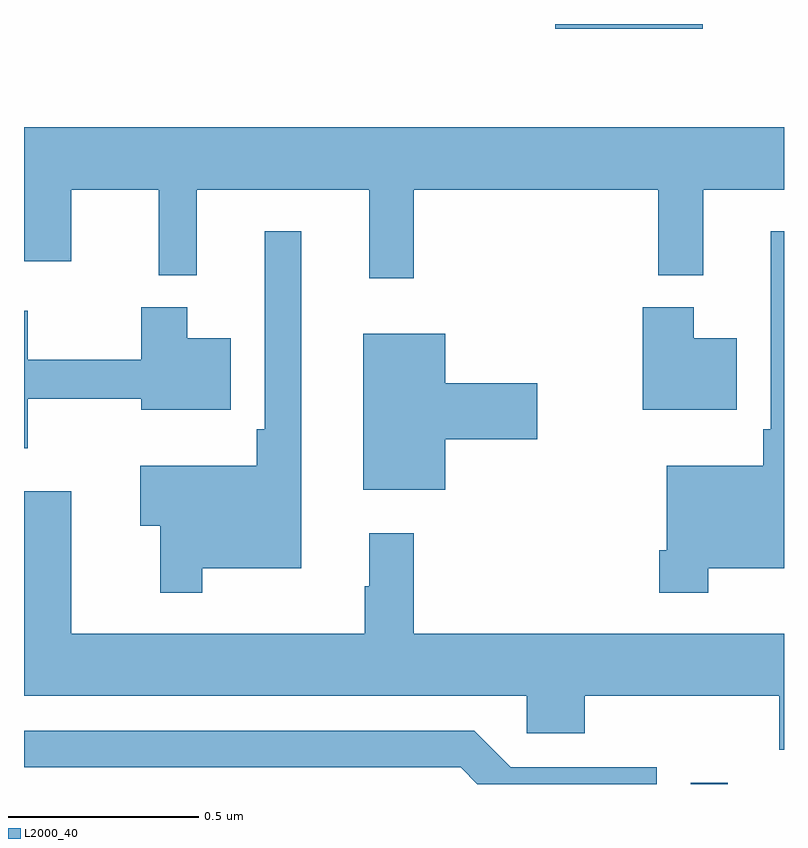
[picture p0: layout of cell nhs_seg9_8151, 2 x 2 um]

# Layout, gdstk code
import gdstk
lib = gdstk.Library(unit=1e-6, precision=1e-09)
def R(c, l, rs):  # rectangles x0, y0, x1, y1
    for r in rs: c.add(gdstk.rectangle(r[:2], r[2:], *l))
def P(c, l, *ps):  # polygons
    for p in ps: c.add(gdstk.Polygon(p, *l))
L2000_40 = (2000, 40)

nhs_seg9_8151 = lib.new_cell('nhs_seg9_8151')
R(nhs_seg9_8151, L2000_40, [(214.755,1217.5,214.852,1217.503), (214.398,1219.487,214.786,1219.5)])
P(nhs_seg9_8151, L2000_40, [(214.025,1219.064),(214.669,1219.064),(214.669,1218.839),(214.787,1218.839),(214.787,1219.064),(215,1219.064),(215,1219.228),(213,1219.228),(213,1218.876),(213.124,1218.876),(213.124,1219.064),(213.355,1219.064),(213.355,1218.839),(213.455,1218.839),(213.455,1219.064),(213.908,1219.064),(213.908,1218.831),(214.025,1218.831)],
  [(213.469,1218.068),(213.73,1218.068),(213.73,1218.955),(213.633,1218.955),(213.633,1218.433),(213.613,1218.433),(213.613,1218.337),(213.306,1218.337),(213.306,1218.179),(213.358,1218.179),(213.358,1218.003),(213.469,1218.003)],
  [(214.801,1218.068),(215,1218.068),(215,1218.955),(214.965,1218.955),(214.965,1218.433),(214.945,1218.433),(214.945,1218.337),(214.692,1218.337),(214.692,1218.115),(214.672,1218.115),(214.672,1218.003),(214.801,1218.003)],
  [(214.876,1218.673),(214.762,1218.673),(214.762,1218.754),(214.628,1218.754),(214.628,1218.485),(214.876,1218.485)],
  [(213.01,1218.514),(213.308,1218.514),(213.308,1218.485),(213.544,1218.485),(213.544,1218.673),(213.43,1218.673),(213.43,1218.754),(213.308,1218.754),(213.308,1218.617),(213.01,1218.617),(213.01,1218.745),(213,1218.745),(213,1218.384),(213.01,1218.384)],
  [(214.108,1218.407),(214.351,1218.407),(214.351,1218.554),(214.108,1218.554),(214.108,1218.685),(213.893,1218.685),(213.893,1218.275),(214.108,1218.275)],
  [(215,1217.896),(214.025,1217.896),(214.025,1218.16),(213.908,1218.16),(213.908,1218.02),(213.897,1218.02),(213.897,1217.896),(213.124,1217.896),(213.124,1218.271),(213,1218.271),(213,1217.732),(214.323,1217.732),(214.323,1217.634),(214.475,1217.634),(214.475,1217.732),(214.988,1217.732),(214.988,1217.59),(215,1217.59)],
  [(214.665,1217.544),(214.281,1217.544),(214.185,1217.64),(213,1217.64),(213,1217.544),(214.149,1217.544),(214.193,1217.5),(214.665,1217.5)])

lib.write_gds('nhs_seg9_8151.gds')
